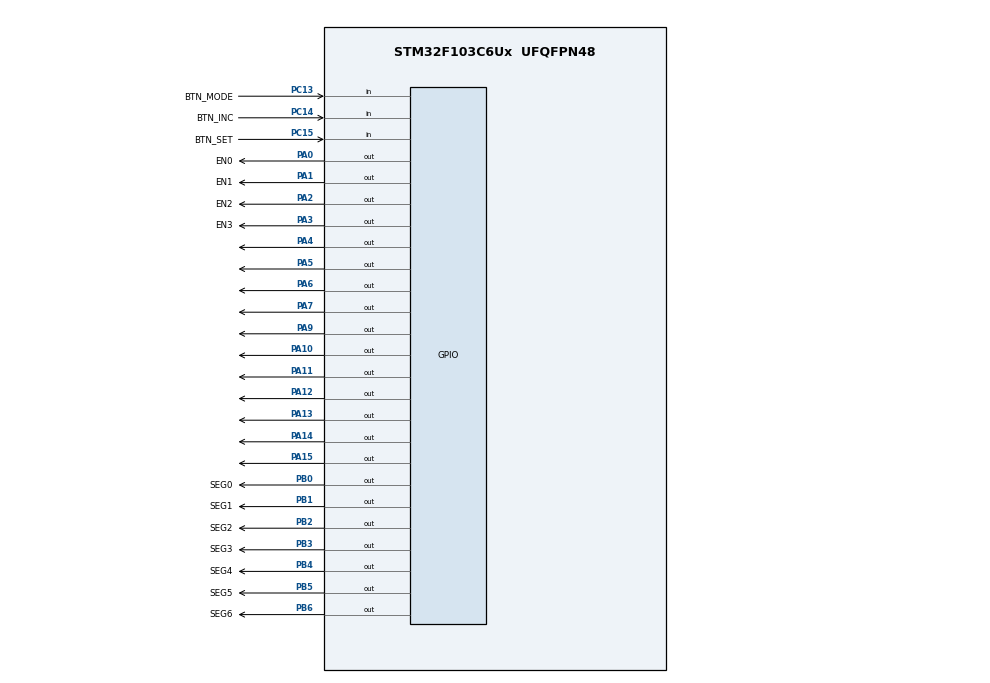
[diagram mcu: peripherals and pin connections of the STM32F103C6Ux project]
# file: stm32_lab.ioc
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Mcu.Family=STM32F1
Mcu.Name=STM32F103C6Ux
Mcu.Package=UFQFPN48
NVIC.PriorityGroup=NVIC_PRIORITYGROUP_4
NVIC.TIM2_IRQn=true\:0\:0\:false\:false\:true\:true\:true
PA0-WKUP.GPIO_Label=EN0
PA0-WKUP.Signal=GPIO_Output
PA1.GPIO_Label=EN1
PA1.Signal=GPIO_Output
PA10.Signal=GPIO_Output
PA11.Signal=GPIO_Output
PA12.Signal=GPIO_Output
PA13.Signal=GPIO_Output
PA14.Signal=GPIO_Output
PA15.Signal=GPIO_Output
PA2.GPIO_Label=EN2
PA2.Signal=GPIO_Output
PA3.GPIO_Label=EN3
PA3.Signal=GPIO_Output
PA4.Signal=GPIO_Output
PA5.Signal=GPIO_Output
PA6.Signal=GPIO_Output
PA7.Signal=GPIO_Output
PA9.Signal=GPIO_Output
PB0.GPIO_Label=SEG0
PB0.Signal=GPIO_Output
PB1.GPIO_Label=SEG1
PB1.Signal=GPIO_Output
PB2.GPIO_Label=SEG2
PB2.Signal=GPIO_Output
PB3.GPIO_Label=SEG3
PB3.Signal=GPIO_Output
PB4.GPIO_Label=SEG4
PB4.Signal=GPIO_Output
PB5.GPIO_Label=SEG5
PB5.Signal=GPIO_Output
PB6.GPIO_Label=SEG6
PB6.Signal=GPIO_Output
PC13-TAMPER-RTC.GPIO_Label=BTN_MODE
PC13-TAMPER-RTC.GPIO_PuPd=GPIO_PULLUP
PC13-TAMPER-RTC.Signal=GPIO_Input
PC14-OSC32_IN.GPIO_Label=BTN_INC
PC14-OSC32_IN.GPIO_PuPd=GPIO_PULLUP
PC14-OSC32_IN.Signal=GPIO_Input
PC15-OSC32_OUT.GPIO_Label=BTN_SET
PC15-OSC32_OUT.GPIO_PuPd=GPIO_PULLUP
PC15-OSC32_OUT.Signal=GPIO_Input
ProjectManager.HeapSize=0x200
ProjectManager.StackSize=0x400
ProjectManager.TargetToolchain=STM32CubeIDE
RCC.APB1Freq_Value=8000000
RCC.APB2Freq_Value=8000000
TIM2.Period=9
TIM2.Prescaler=7999
VP_SYS_VS_ND.Mode=No_Debug
VP_TIM2_VS_ClockSourceINT.Mode=Internal
board=custom

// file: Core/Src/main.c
/* EX3 - GPIO and TIM2 interrupt; blink PA4 to distinguish from EX4 */
/* USER CODE BEGIN Header */
/**
 ******************************************************************************
 * @file    : main.c
 * @brief   : Lab 3 - Exercise 3
 *            GPIO configuration and TIM2 interrupt every 10 ms.
 *            Test LED on PA4 blinks at 1 Hz (500 ms ON, 500 ms OFF).
 *            Other traffic LEDs remain OFF for this test.
 ******************************************************************************
 */
/* USER CODE END Header */

#include "main.h"

/* USER CODE BEGIN PD */
#define DIGIT_ENABLE_PINS (GPIO_PIN_0 | GPIO_PIN_1 | GPIO_PIN_2 | GPIO_PIN_3)
#define TRAFFIC_LED_PINS  (GPIO_PIN_4 | GPIO_PIN_5 | GPIO_PIN_6 | GPIO_PIN_7 | \
                           GPIO_PIN_8 | GPIO_PIN_9 | GPIO_PIN_10 | GPIO_PIN_11 | \
                           GPIO_PIN_12 | GPIO_PIN_13 | GPIO_PIN_14 | GPIO_PIN_15)
#define SEGMENT_PINS      (GPIO_PIN_0 | GPIO_PIN_1 | GPIO_PIN_2 | GPIO_PIN_3 | \
                           GPIO_PIN_4 | GPIO_PIN_5 | GPIO_PIN_6)

#define EX3_TEST_LED_PIN      GPIO_PIN_4
#define EX3_TOGGLE_EVERY_ISR 50U  /* 50 x 10 ms = 500 ms */
/* USER CODE END PD */

TIM_HandleTypeDef htim2;

/* USER CODE BEGIN PV */
volatile uint32_t timer_ticks = 0U;
/* USER CODE END PV */

void SystemClock_Config(void);
static void MX_GPIO_Init(void);
static void MX_TIM2_Init(void);

int main(void)
{
    HAL_Init();
    SystemClock_Config();

    MX_GPIO_Init();
    MX_TIM2_Init();

    /* USER CODE BEGIN 2 */
    if (HAL_TIM_Base_Start_IT(&htim2) != HAL_OK)
    {
        Error_Handler();
    }
    /* USER CODE END 2 */

    while (1)
    {
        /* USER CODE BEGIN 3 */
        /* Exercise 3: TIM2 callback counts interrupts and blinks PA4 only. */
    }
    /* USER CODE END 3 */
}

void SystemClock_Config(void)
{
    RCC_OscInitTypeDef RCC_OscInitStruct = {0};
    RCC_ClkInitTypeDef RCC_ClkInitStruct = {0};

    RCC_OscInitStruct.OscillatorType = RCC_OSCILLATORTYPE_HSI;
    RCC_OscInitStruct.HSIState = RCC_HSI_ON;
    RCC_OscInitStruct.HSICalibrationValue = RCC_HSICALIBRATION_DEFAULT;
    RCC_OscInitStruct.PLL.PLLState = RCC_PLL_NONE;

    if (HAL_RCC_OscConfig(&RCC_OscInitStruct) != HAL_OK)
    {
        Error_Handler();
    }

    RCC_ClkInitStruct.ClockType = RCC_CLOCKTYPE_HCLK |
                                   RCC_CLOCKTYPE_SYSCLK |
                                   RCC_CLOCKTYPE_PCLK1 |
                                   RCC_CLOCKTYPE_PCLK2;
    RCC_ClkInitStruct.SYSCLKSource = RCC_SYSCLKSOURCE_HSI;
    RCC_ClkInitStruct.AHBCLKDivider = RCC_SYSCLK_DIV1;
    RCC_ClkInitStruct.APB1CLKDivider = RCC_HCLK_DIV1;
    RCC_ClkInitStruct.APB2CLKDivider = RCC_HCLK_DIV1;

    if (HAL_RCC_ClockConfig(&RCC_ClkInitStruct, FLASH_LATENCY_0) != HAL_OK)
    {
        Error_Handler();
    }
}

/**
 * @brief TIM2 at 10 ms: TIM2 clock 8 MHz; PSC = 7999; ARR = 9.
 */
static void MX_TIM2_Init(void)
{
    TIM_ClockConfigTypeDef sClockSourceConfig = {0};
    TIM_MasterConfigTypeDef sMasterConfig = {0};

    htim2.Instance = TIM2;
    htim2.Init.Prescaler = 7999;
    htim2.Init.CounterMode = TIM_COUNTERMODE_UP;
    htim2.Init.Period = 9;
    htim2.Init.ClockDivision = TIM_CLOCKDIVISION_DIV1;
    htim2.Init.AutoReloadPreload = TIM_AUTORELOAD_PRELOAD_DISABLE;

    if (HAL_TIM_Base_Init(&htim2) != HAL_OK)
    {
        Error_Handler();
    }

    sClockSourceConfig.ClockSource = TIM_CLOCKSOURCE_INTERNAL;
    if (HAL_TIM_ConfigClockSource(&htim2, &sClockSourceConfig) != HAL_OK)
    {
        Error_Handler();
    }

    sMasterConfig.MasterOutputTrigger = TIM_TRGO_RESET;
    sMasterConfig.MasterSlaveMode = TIM_MASTERSLAVEMODE_DISABLE;
    if (HAL_TIMEx_MasterConfigSynchronization(&htim2, &sMasterConfig) != HAL_OK)
    {
        Error_Handler();
    }
}

/**
 * @brief Configure PA4-PA15 traffic LEDs, PA0-PA3 digit enables,
 *        PB0-PB6 segments, and PC13-PC15 buttons.
 * @note  This test assumes the traffic LEDs are ACTIVE HIGH, matching
 *        the observed behavior where setting all PA pins HIGH lit them.
 *        If your schematic has ACTIVE-LOW LEDs, invert those pin levels.
 */
static void MX_GPIO_Init(void)
{
    GPIO_InitTypeDef GPIO_InitStruct = {0};

    __HAL_RCC_GPIOA_CLK_ENABLE();
    __HAL_RCC_GPIOB_CLK_ENABLE();
    __HAL_RCC_GPIOC_CLK_ENABLE();
    __HAL_RCC_AFIO_CLK_ENABLE();

    /* PA13/PA14/PA15 are also SWJ pins. Free them for traffic LEDs.
       This disables both SWD and JTAG debug while this firmware runs. */
    __HAL_AFIO_REMAP_SWJ_DISABLE();

    /* Four common-anode digits through PNP: HIGH means OFF. */
    HAL_GPIO_WritePin(GPIOA, DIGIT_ENABLE_PINS, GPIO_PIN_SET);

    /* Traffic LEDs in the current active-high wiring: LOW means OFF.
       Only PA4 is later toggled by the timer interrupt. */
    HAL_GPIO_WritePin(GPIOA, TRAFFIC_LED_PINS, GPIO_PIN_RESET);

    /* Common-anode seven-segment segments: HIGH means OFF. */
    HAL_GPIO_WritePin(GPIOB, SEGMENT_PINS, GPIO_PIN_SET);

    /* PC13-PC15: MODE / INC / SET, released = HIGH (pull-up). */
    GPIO_InitStruct.Pin = BTN_MODE_Pin | BTN_INC_Pin | BTN_SET_Pin;
    GPIO_InitStruct.Mode = GPIO_MODE_INPUT;
    GPIO_InitStruct.Pull = GPIO_PULLUP;
    HAL_GPIO_Init(GPIOC, &GPIO_InitStruct);

    /* PA0-PA3: enable pins for seven-segment digit transistors. */
    GPIO_InitStruct.Pin = DIGIT_ENABLE_PINS;
    GPIO_InitStruct.Mode = GPIO_MODE_OUTPUT_PP;
    GPIO_InitStruct.Pull = GPIO_NOPULL;
    GPIO_InitStruct.Speed = GPIO_SPEED_FREQ_LOW;
    HAL_GPIO_Init(GPIOA, &GPIO_InitStruct);

    /* PA4-PA15: traffic LED outputs. */
    GPIO_InitStruct.Pin = TRAFFIC_LED_PINS;
    GPIO_InitStruct.Mode = GPIO_MODE_OUTPUT_PP;
    GPIO_InitStruct.Pull = GPIO_NOPULL;
    GPIO_InitStruct.Speed = GPIO_SPEED_FREQ_LOW;
    HAL_GPIO_Init(GPIOA, &GPIO_InitStruct);

    /* PB0-PB6: seven-segment outputs. */
    GPIO_InitStruct.Pin = SEGMENT_PINS;
    GPIO_InitStruct.Mode = GPIO_MODE_OUTPUT_PP;
    GPIO_InitStruct.Pull = GPIO_NOPULL;
    GPIO_InitStruct.Speed = GPIO_SPEED_FREQ_LOW;
    HAL_GPIO_Init(GPIOB, &GPIO_InitStruct);
}

/* USER CODE BEGIN 4 */
/**
 * @brief TIM2 interrupt callback: 10 ms each, PA4 toggle every 500 ms.
 *        PA4 blinking period = 1 s = 1 Hz.
 */
void HAL_TIM_PeriodElapsedCallback(TIM_HandleTypeDef *htim)
{
    if (htim->Instance == TIM2)
    {
        timer_ticks++;
        if ((timer_ticks % EX3_TOGGLE_EVERY_ISR) == 0U)
        {
            HAL_GPIO_TogglePin(GPIOA, EX3_TEST_LED_PIN);
        }
    }
}
/* USER CODE END 4 */

void Error_Handler(void)
{
    __disable_irq();
    while (1)
    {
    }
}

#ifdef USE_FULL_ASSERT
void assert_failed(uint8_t *file, uint32_t line)
{
    /* USER CODE BEGIN 6 */
    (void)file;
    (void)line;
    /* USER CODE END 6 */
}
#endif

/************************ END OF FILE ************************/
